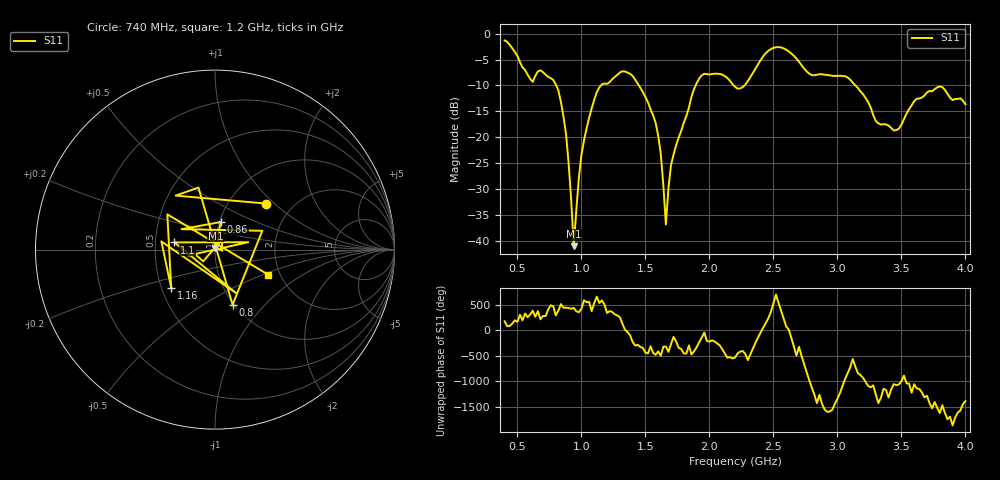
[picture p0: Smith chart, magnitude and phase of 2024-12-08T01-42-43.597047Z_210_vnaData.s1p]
!Created with skrf (http://scikit-rf.org).
# Hz S RI R 50.0
!freq ReS11 ImS11
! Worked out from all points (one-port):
!   181 points, 400 MHz to 4 GHz, reference 50 ohm
!   lowest |S11| = -41.0 dB at 940 MHz (marker M1), VSWR 1.02, Z = 50.2 + j0.862 ohm
!   |S11| at or under -10 dB: 803 MHz to 1.153 GHz (349.8 MHz wide, 35.8 % of centre); 1.449 GHz to 1.892 GHz (443.5 MHz wide, 26.5 % of centre); 3.142 GHz to end of sweep (the widest 3 of 4)
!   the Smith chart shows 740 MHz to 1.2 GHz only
!   S11 on the Smith chart (normalised r, x): 740 MHz: 1.48, +0.89; 800 MHz: 0.99, -0.68; 860 MHz: 1.02, +0.32; 1.1 GHz: 0.63, +0.05; 1.16 GHz: 0.56, -0.27; 1.2 GHz: 1.73, -0.54
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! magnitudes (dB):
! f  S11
! 400 MHz  -1.3
! 620 MHz  -9.3
! 740 MHz  -8.3
! 800 MHz  -9.8
! 860 MHz  -16.1
! 900 MHz  -25.0
! 940 MHz  -41.0
! 1 GHz  -23.4
! 1.1 GHz  -12.8
! 1.16 GHz  -9.8
! 1.2 GHz  -9.7
! 1.3 GHz  -7.5
! 1.4 GHz  -8.1
! 1.58 GHz  -17.2
! 1.62 GHz  -23.2
! 1.66 GHz  -36.9
! 1.7 GHz  -25.4
! 1.76 GHz  -20.1
! 1.94 GHz  -8.0
! 2.2 GHz  -10.2
! 2.48 GHz  -3.0
! 2.66 GHz  -4.3
! 3.1 GHz  -8.9
! 3.32 GHz  -17.3
! 3.46 GHz  -18.6
! 3.56 GHz  -14.6
! 3.8 GHz  -10.2
! 4 GHz  -13.6
